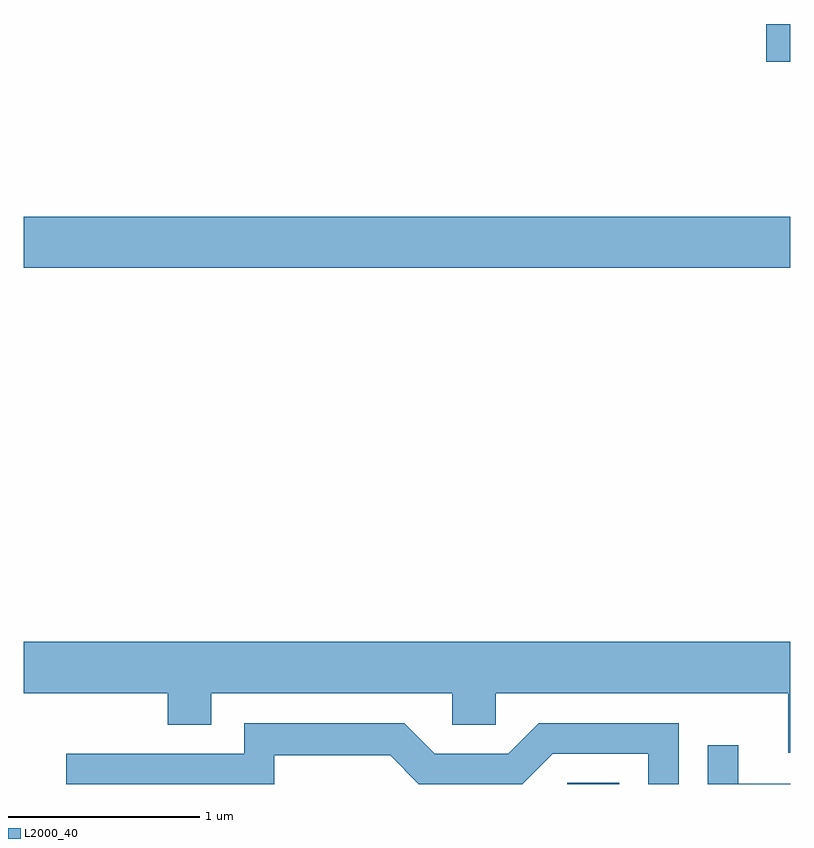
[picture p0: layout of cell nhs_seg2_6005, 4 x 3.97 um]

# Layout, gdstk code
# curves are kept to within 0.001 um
import gdstk
lib = gdstk.Library(unit=1e-6, precision=1e-09)
def R(c, l, rs):  # rectangles x0, y0, x1, y1
    for r in rs: c.add(gdstk.rectangle(r[:2], r[2:], *l))
def P(c, l, *ps):  # polygons
    for p in ps: c.add(gdstk.Polygon(p, *l))
L2000_40 = (2000, 40)

nhs_seg2_6005 = lib.new_cell('nhs_seg2_6005')
R(nhs_seg2_6005, L2000_40, [(364.448,1087.802,364.719,1087.809), (361.611,1090.496,365.611,1090.764), (365.486,1091.571,365.611,1091.769)])
P(nhs_seg2_6005, L2000_40, [(365.611,1088.544),(361.611,1088.544),(361.611,1088.276),(362.361,1088.276),(362.361,1088.111),(362.589,1088.111),(362.589,1088.276),(363.846,1088.276),(363.846,1088.111),(364.074,1088.111),(364.074,1088.276),(365.601,1088.276),(365.601,1087.966),(365.611,1087.966)],
  [(362.919,1087.951),(363.524,1087.951),(363.673,1087.802),(364.213,1087.802),(364.372,1087.961),(364.871,1087.961),(364.871,1087.802),(365.029,1087.802),(365.029,1088.119),(364.299,1088.119),(364.139,1087.959),(363.757,1087.959),(363.597,1088.119),(362.761,1088.119),(362.761,1087.959),(361.833,1087.959),(361.833,1087.802),(362.919,1087.802)],
  [(365.611,1087.804),(365.339,1087.804),(365.339,1088.003),(365.181,1088.003),(365.181,1087.802),(365.611,1087.802)])

lib.write_gds('nhs_seg2_6005.gds')
